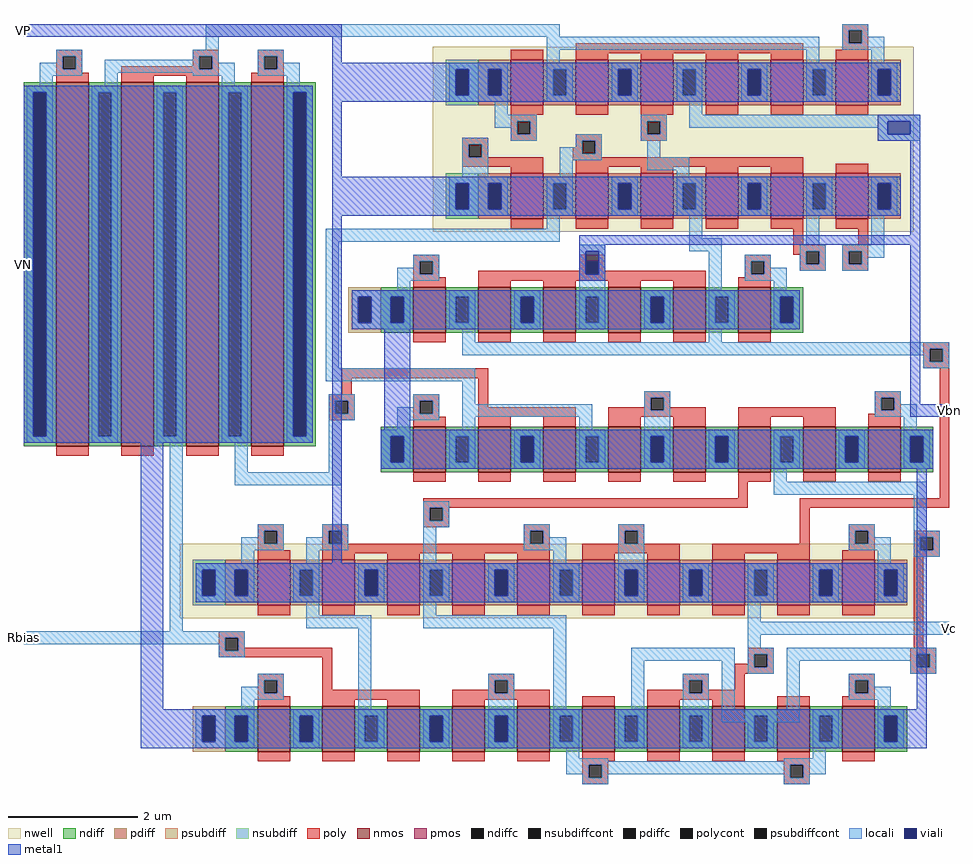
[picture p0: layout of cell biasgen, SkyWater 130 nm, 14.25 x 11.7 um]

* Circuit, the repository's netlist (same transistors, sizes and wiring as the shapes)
* SPICE3 file created from biasgen.ext - technology: sky130A


* Top level circuit biasgen

X0 a_50_260# a_50_n170# VP VP sky130_fd_pr__pfet_01v8 ad=3.5e+11p pd=2.4e+06u as=5.25e+12p ps=3.6e+07u w=700000u l=500000u
X1 VN VN a_50_260# VN sky130_fd_pr__nfet_01v8 ad=1.085e+13p pd=6.04e+07u as=7e+11p ps=4.8e+06u w=700000u l=500000u
X2 a_n30_n580# VN VN VN sky130_fd_pr__nfet_01v8 ad=7e+11p pd=4.8e+06u as=0p ps=0u w=700000u l=500000u
X3 a_n430_n580# a_n430_n580# VP VP sky130_fd_pr__pfet_01v8 ad=7e+11p pd=4.8e+06u as=0p ps=0u w=700000u l=500000u
X4 a_50_n170# VN VN VN sky130_fd_pr__nfet_01v8 ad=7e+11p pd=4.8e+06u as=0p ps=0u w=700000u l=500000u
X5 VN a_n30_n580# a_570_n1030# VN sky130_fd_pr__nfet_01v8 ad=0p pd=0u as=1.05e+12p ps=7.2e+06u w=700000u l=500000u
X6 VP a_n430_n580# a_n430_n580# VP sky130_fd_pr__pfet_01v8 ad=0p pd=0u as=0p ps=0u w=700000u l=500000u
X7 a_n1050_n90# VN VN VN sky130_fd_pr__nfet_01v8 ad=5.6e+12p pd=2.44e+07u as=0p ps=0u w=5.6e+06u l=500000u
X8 Rbias a_n1050_n90# a_n1050_n90# VN sky130_fd_pr__nfet_01v8 ad=2.8e+12p pd=1.22e+07u as=0p ps=0u w=5.6e+06u l=500000u
X9 a_50_n170# VP VP VP sky130_fd_pr__pfet_01v8 ad=7e+11p pd=4.8e+06u as=0p ps=0u w=700000u l=500000u
X10 a_50_260# VN VN VN sky130_fd_pr__nfet_01v8 ad=0p pd=0u as=0p ps=0u w=700000u l=500000u
X11 a_570_n1030# a_n30_n580# a_n30_n580# VN sky130_fd_pr__nfet_01v8 ad=0p pd=0u as=0p ps=0u w=700000u l=500000u
X12 a_n1050_n90# a_50_260# VP VP sky130_fd_pr__pfet_01v8 ad=7e+11p pd=4.8e+06u as=0p ps=0u w=700000u l=500000u
X13 VN Vbn Vbn VN sky130_fd_pr__nfet_01v8 ad=0p pd=0u as=3.5e+11p ps=2.4e+06u w=700000u l=500000u
X14 VN VN a_50_n170# VN sky130_fd_pr__nfet_01v8 ad=0p pd=0u as=0p ps=0u w=700000u l=500000u
X15 VP a_50_260# Vbn VP sky130_fd_pr__pfet_01v8 ad=0p pd=0u as=3.5e+11p ps=2.4e+06u w=700000u l=500000u
X16 Vc Vc a_570_n1030# VN sky130_fd_pr__nfet_01v8 ad=3.5e+11p pd=2.4e+06u as=0p ps=0u w=700000u l=500000u
X17 Vc a_50_260# VP VP sky130_fd_pr__pfet_01v8 ad=3.5e+11p pd=2.4e+06u as=0p ps=0u w=700000u l=500000u
X18 VN Rbias a_n430_n580# VN sky130_fd_pr__nfet_01v8 ad=0p pd=0u as=3.5e+11p ps=2.4e+06u w=700000u l=500000u
X19 VN VN a_n1050_n90# VN sky130_fd_pr__nfet_01v8 ad=0p pd=0u as=0p ps=0u w=5.6e+06u l=500000u
X20 a_570_n1030# Vc Vc VN sky130_fd_pr__nfet_01v8 ad=0p pd=0u as=0p ps=0u w=700000u l=500000u
X21 VN Vbn a_50_260# VN sky130_fd_pr__nfet_01v8 ad=0p pd=0u as=0p ps=0u w=700000u l=500000u
X22 a_n30_n580# a_n430_n580# VP VP sky130_fd_pr__pfet_01v8 ad=3.5e+11p pd=2.4e+06u as=0p ps=0u w=700000u l=500000u
X23 a_n430_n580# Rbias VN VN sky130_fd_pr__nfet_01v8 ad=0p pd=0u as=0p ps=0u w=700000u l=500000u
X24 VP a_50_260# a_n1050_n90# VP sky130_fd_pr__pfet_01v8 ad=0p pd=0u as=0p ps=0u w=700000u l=500000u
X25 a_50_n170# a_50_n170# VP VP sky130_fd_pr__pfet_01v8 ad=0p pd=0u as=0p ps=0u w=700000u l=500000u
X26 VP a_50_n170# a_50_260# VP sky130_fd_pr__pfet_01v8 ad=0p pd=0u as=0p ps=0u w=700000u l=500000u
X27 VP VP VP VP sky130_fd_pr__pfet_01v8 ad=0p pd=0u as=0p ps=0u w=700000u l=500000u
X28 a_50_n170# a_n1050_n90# VN VN sky130_fd_pr__nfet_01v8 ad=0p pd=0u as=0p ps=0u w=700000u l=500000u
X29 VN VN VN VN sky130_fd_pr__nfet_01v8 ad=0p pd=0u as=0p ps=0u w=700000u l=500000u
X30 VP a_n430_n580# a_n30_n580# VP sky130_fd_pr__pfet_01v8 ad=0p pd=0u as=0p ps=0u w=700000u l=500000u
X31 VP VP VP VP sky130_fd_pr__pfet_01v8 ad=0p pd=0u as=0p ps=0u w=700000u l=500000u
X32 VP a_50_n170# a_50_n170# VP sky130_fd_pr__pfet_01v8 ad=0p pd=0u as=0p ps=0u w=700000u l=500000u
X33 VP VP a_n1050_n90# VP sky130_fd_pr__pfet_01v8 ad=0p pd=0u as=0p ps=0u w=700000u l=500000u
X34 a_50_260# Vbn VN VN sky130_fd_pr__nfet_01v8 ad=0p pd=0u as=0p ps=0u w=700000u l=500000u
X35 VN VN VN VN sky130_fd_pr__nfet_01v8 ad=0p pd=0u as=0p ps=0u w=700000u l=500000u
X36 a_570_n1030# a_n30_n580# VN VN sky130_fd_pr__nfet_01v8 ad=0p pd=0u as=0p ps=0u w=700000u l=500000u
X37 VP a_50_260# Vc VP sky130_fd_pr__pfet_01v8 ad=0p pd=0u as=0p ps=0u w=700000u l=500000u
X38 VN a_n1050_n90# a_50_n170# VN sky130_fd_pr__nfet_01v8 ad=0p pd=0u as=0p ps=0u w=700000u l=500000u
X39 a_n1050_n90# a_n1050_n90# Rbias VN sky130_fd_pr__nfet_01v8 ad=0p pd=0u as=0p ps=0u w=5.6e+06u l=500000u
X40 Vbn Vbn VN VN sky130_fd_pr__nfet_01v8 ad=0p pd=0u as=0p ps=0u w=700000u l=500000u
X41 a_n30_n580# a_n30_n580# a_570_n1030# VN sky130_fd_pr__nfet_01v8 ad=0p pd=0u as=0p ps=0u w=700000u l=500000u
X42 Vbn a_50_260# VP VP sky130_fd_pr__pfet_01v8 ad=0p pd=0u as=0p ps=0u w=700000u l=500000u
X43 VP VP a_50_n170# VP sky130_fd_pr__pfet_01v8 ad=0p pd=0u as=0p ps=0u w=700000u l=500000u
X44 VP VP a_n430_n580# VP sky130_fd_pr__pfet_01v8 ad=0p pd=0u as=0p ps=0u w=700000u l=500000u
X45 VN VN VN VN sky130_fd_pr__nfet_01v8 ad=0p pd=0u as=0p ps=0u w=700000u l=500000u
X46 a_n430_n580# VP VP VP sky130_fd_pr__pfet_01v8 ad=0p pd=0u as=0p ps=0u w=700000u l=500000u
X47 VN VN a_n30_n580# VN sky130_fd_pr__nfet_01v8 ad=0p pd=0u as=0p ps=0u w=700000u l=500000u
X48 a_n1050_n90# VP VP VP sky130_fd_pr__pfet_01v8 ad=0p pd=0u as=0p ps=0u w=700000u l=500000u
X49 VN VN VN VN sky130_fd_pr__nfet_01v8 ad=0p pd=0u as=0p ps=0u w=700000u l=500000u
.end

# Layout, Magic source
magic
tech sky130A
<< nwell >>
rect 5 285 745 570
rect -385 -310 755 -195
<< nmos >>
rect -575 -45 -525 515
rect -475 -45 -425 515
rect -375 -45 -325 515
rect -275 -45 -225 515
rect -25 130 25 200
rect 75 130 125 200
rect 175 130 225 200
rect 275 130 325 200
rect 375 130 425 200
rect 475 130 525 200
rect -25 -85 25 -15
rect 75 -85 125 -15
rect 175 -85 225 -15
rect 275 -85 325 -15
rect 375 -85 425 -15
rect 475 -85 525 -15
rect 575 -85 625 -15
rect 675 -85 725 -15
rect -265 -515 -215 -445
rect -165 -515 -115 -445
rect -65 -515 -15 -445
rect 35 -515 85 -445
rect 135 -515 185 -445
rect 235 -515 285 -445
rect 335 -515 385 -445
rect 435 -515 485 -445
rect 535 -515 585 -445
rect 635 -515 685 -445
<< pmos >>
rect 125 480 175 550
rect 225 480 275 550
rect 325 480 375 550
rect 425 480 475 550
rect 525 480 575 550
rect 625 480 675 550
rect 125 305 175 375
rect 225 305 275 375
rect 325 305 375 375
rect 425 305 475 375
rect 525 305 575 375
rect 625 305 675 375
rect -265 -290 -215 -220
rect -165 -290 -115 -220
rect -65 -290 -15 -220
rect 35 -290 85 -220
rect 135 -290 185 -220
rect 235 -290 285 -220
rect 335 -290 385 -220
rect 435 -290 485 -220
rect 535 -290 585 -220
rect 635 -290 685 -220
<< ndiff >>
rect -625 500 -575 515
rect -625 -30 -610 500
rect -590 -30 -575 500
rect -625 -45 -575 -30
rect -525 500 -475 515
rect -525 -30 -510 500
rect -490 -30 -475 500
rect -525 -45 -475 -30
rect -425 500 -375 515
rect -425 -30 -410 500
rect -390 -30 -375 500
rect -425 -45 -375 -30
rect -325 500 -275 515
rect -325 -30 -310 500
rect -290 -30 -275 500
rect -325 -45 -275 -30
rect -225 500 -175 515
rect -225 -30 -210 500
rect -190 -30 -175 500
rect -75 185 -25 200
rect -75 145 -60 185
rect -40 145 -25 185
rect -75 130 -25 145
rect 25 185 75 200
rect 25 145 40 185
rect 60 145 75 185
rect 25 130 75 145
rect 125 185 175 200
rect 125 145 140 185
rect 160 145 175 185
rect 125 130 175 145
rect 225 185 275 200
rect 225 145 240 185
rect 260 145 275 185
rect 225 130 275 145
rect 325 185 375 200
rect 325 145 340 185
rect 360 145 375 185
rect 325 130 375 145
rect 425 185 475 200
rect 425 145 440 185
rect 460 145 475 185
rect 425 130 475 145
rect 525 185 575 200
rect 525 145 540 185
rect 560 145 575 185
rect 525 130 575 145
rect -225 -45 -175 -30
rect -75 -30 -25 -15
rect -75 -70 -60 -30
rect -40 -70 -25 -30
rect -75 -85 -25 -70
rect 25 -30 75 -15
rect 25 -70 40 -30
rect 60 -70 75 -30
rect 25 -85 75 -70
rect 125 -30 175 -15
rect 125 -70 140 -30
rect 160 -70 175 -30
rect 125 -85 175 -70
rect 225 -30 275 -15
rect 225 -70 240 -30
rect 260 -70 275 -30
rect 225 -85 275 -70
rect 325 -30 375 -15
rect 325 -70 340 -30
rect 360 -70 375 -30
rect 325 -85 375 -70
rect 425 -30 475 -15
rect 425 -70 440 -30
rect 460 -70 475 -30
rect 425 -85 475 -70
rect 525 -30 575 -15
rect 525 -70 540 -30
rect 560 -70 575 -30
rect 525 -85 575 -70
rect 625 -30 675 -15
rect 625 -70 640 -30
rect 660 -70 675 -30
rect 625 -85 675 -70
rect 725 -30 775 -15
rect 725 -70 740 -30
rect 760 -70 775 -30
rect 725 -85 775 -70
rect -315 -460 -265 -445
rect -315 -500 -300 -460
rect -280 -500 -265 -460
rect -315 -515 -265 -500
rect -215 -460 -165 -445
rect -215 -500 -200 -460
rect -180 -500 -165 -460
rect -215 -515 -165 -500
rect -115 -460 -65 -445
rect -115 -500 -100 -460
rect -80 -500 -65 -460
rect -115 -515 -65 -500
rect -15 -460 35 -445
rect -15 -500 0 -460
rect 20 -500 35 -460
rect -15 -515 35 -500
rect 85 -460 135 -445
rect 85 -500 100 -460
rect 120 -500 135 -460
rect 85 -515 135 -500
rect 185 -460 235 -445
rect 185 -500 200 -460
rect 220 -500 235 -460
rect 185 -515 235 -500
rect 285 -460 335 -445
rect 285 -500 300 -460
rect 320 -500 335 -460
rect 285 -515 335 -500
rect 385 -460 435 -445
rect 385 -500 400 -460
rect 420 -500 435 -460
rect 385 -515 435 -500
rect 485 -460 535 -445
rect 485 -500 500 -460
rect 520 -500 535 -460
rect 485 -515 535 -500
rect 585 -460 635 -445
rect 585 -500 600 -460
rect 620 -500 635 -460
rect 585 -515 635 -500
rect 685 -460 735 -445
rect 685 -500 700 -460
rect 720 -500 735 -460
rect 685 -515 735 -500
<< pdiff >>
rect 75 535 125 550
rect 75 495 90 535
rect 110 495 125 535
rect 75 480 125 495
rect 175 535 225 550
rect 175 495 190 535
rect 210 495 225 535
rect 175 480 225 495
rect 275 535 325 550
rect 275 495 290 535
rect 310 495 325 535
rect 275 480 325 495
rect 375 535 425 550
rect 375 495 390 535
rect 410 495 425 535
rect 375 480 425 495
rect 475 535 525 550
rect 475 495 490 535
rect 510 495 525 535
rect 475 480 525 495
rect 575 535 625 550
rect 575 495 590 535
rect 610 495 625 535
rect 575 480 625 495
rect 675 535 725 550
rect 675 495 690 535
rect 710 495 725 535
rect 675 480 725 495
rect 75 360 125 375
rect 75 320 90 360
rect 110 320 125 360
rect 75 305 125 320
rect 175 360 225 375
rect 175 320 190 360
rect 210 320 225 360
rect 175 305 225 320
rect 275 360 325 375
rect 275 320 290 360
rect 310 320 325 360
rect 275 305 325 320
rect 375 360 425 375
rect 375 320 390 360
rect 410 320 425 360
rect 375 305 425 320
rect 475 360 525 375
rect 475 320 490 360
rect 510 320 525 360
rect 475 305 525 320
rect 575 360 625 375
rect 575 320 590 360
rect 610 320 625 360
rect 575 305 625 320
rect 675 360 725 375
rect 675 320 690 360
rect 710 320 725 360
rect 675 305 725 320
rect -315 -235 -265 -220
rect -315 -275 -300 -235
rect -280 -275 -265 -235
rect -315 -290 -265 -275
rect -215 -235 -165 -220
rect -215 -275 -200 -235
rect -180 -275 -165 -235
rect -215 -290 -165 -275
rect -115 -235 -65 -220
rect -115 -275 -100 -235
rect -80 -275 -65 -235
rect -115 -290 -65 -275
rect -15 -235 35 -220
rect -15 -275 0 -235
rect 20 -275 35 -235
rect -15 -290 35 -275
rect 85 -235 135 -220
rect 85 -275 100 -235
rect 120 -275 135 -235
rect 85 -290 135 -275
rect 185 -235 235 -220
rect 185 -275 200 -235
rect 220 -275 235 -235
rect 185 -290 235 -275
rect 285 -235 335 -220
rect 285 -275 300 -235
rect 320 -275 335 -235
rect 285 -290 335 -275
rect 385 -235 435 -220
rect 385 -275 400 -235
rect 420 -275 435 -235
rect 385 -290 435 -275
rect 485 -235 535 -220
rect 485 -275 500 -235
rect 520 -275 535 -235
rect 485 -290 535 -275
rect 585 -235 635 -220
rect 585 -275 600 -235
rect 620 -275 635 -235
rect 585 -290 635 -275
rect 685 -235 735 -220
rect 685 -275 700 -235
rect 720 -275 735 -235
rect 685 -290 735 -275
<< ndiffc >>
rect -610 -30 -590 500
rect -510 -30 -490 500
rect -410 -30 -390 500
rect -310 -30 -290 500
rect -210 -30 -190 500
rect -60 145 -40 185
rect 40 145 60 185
rect 140 145 160 185
rect 240 145 260 185
rect 340 145 360 185
rect 440 145 460 185
rect 540 145 560 185
rect -60 -70 -40 -30
rect 40 -70 60 -30
rect 140 -70 160 -30
rect 240 -70 260 -30
rect 340 -70 360 -30
rect 440 -70 460 -30
rect 540 -70 560 -30
rect 640 -70 660 -30
rect 740 -70 760 -30
rect -300 -500 -280 -460
rect -200 -500 -180 -460
rect -100 -500 -80 -460
rect 0 -500 20 -460
rect 100 -500 120 -460
rect 200 -500 220 -460
rect 300 -500 320 -460
rect 400 -500 420 -460
rect 500 -500 520 -460
rect 600 -500 620 -460
rect 700 -500 720 -460
<< pdiffc >>
rect 90 495 110 535
rect 190 495 210 535
rect 290 495 310 535
rect 390 495 410 535
rect 490 495 510 535
rect 590 495 610 535
rect 690 495 710 535
rect 90 320 110 360
rect 190 320 210 360
rect 290 320 310 360
rect 390 320 410 360
rect 490 320 510 360
rect 590 320 610 360
rect 690 320 710 360
rect -300 -275 -280 -235
rect -200 -275 -180 -235
rect -100 -275 -80 -235
rect 0 -275 20 -235
rect 100 -275 120 -235
rect 200 -275 220 -235
rect 300 -275 320 -235
rect 400 -275 420 -235
rect 500 -275 520 -235
rect 600 -275 620 -235
rect 700 -275 720 -235
<< psubdiff >>
rect -125 185 -75 200
rect -125 145 -110 185
rect -90 145 -75 185
rect -125 130 -75 145
rect -365 -460 -315 -445
rect -365 -500 -350 -460
rect -330 -500 -315 -460
rect -365 -515 -315 -500
<< nsubdiff >>
rect 25 535 75 550
rect 25 495 40 535
rect 60 495 75 535
rect 25 480 75 495
rect 25 360 75 375
rect 25 320 40 360
rect 60 320 75 360
rect 25 305 75 320
rect -365 -235 -315 -220
rect -365 -275 -350 -235
rect -330 -275 -315 -235
rect -365 -290 -315 -275
<< psubdiffcont >>
rect -110 145 -90 185
rect -350 -500 -330 -460
<< nsubdiffcont >>
rect 40 495 60 535
rect 40 320 60 360
rect -350 -275 -330 -235
<< poly >>
rect 635 595 675 605
rect 635 575 645 595
rect 665 575 675 595
rect -575 555 -535 565
rect -575 535 -565 555
rect -545 535 -535 555
rect -365 555 -325 565
rect -365 540 -355 555
rect -575 530 -535 535
rect -475 535 -355 540
rect -335 535 -325 555
rect -575 515 -525 530
rect -475 525 -325 535
rect -265 555 -225 565
rect -265 535 -255 555
rect -235 535 -225 555
rect 125 550 175 565
rect 225 560 575 575
rect 635 565 675 575
rect 225 550 275 560
rect 325 550 375 560
rect 425 550 475 560
rect 525 550 575 560
rect 625 550 675 565
rect -265 530 -225 535
rect -475 515 -425 525
rect -375 515 -325 525
rect -275 515 -225 530
rect 125 465 175 480
rect 225 465 275 480
rect 325 465 375 480
rect 425 465 475 480
rect 525 465 575 480
rect 625 465 675 480
rect 125 455 165 465
rect 125 435 135 455
rect 155 435 165 455
rect 325 455 365 465
rect 325 435 335 455
rect 355 435 365 455
rect 50 420 90 430
rect 125 425 165 435
rect 225 425 265 435
rect 325 425 365 435
rect 50 400 60 420
rect 80 400 90 420
rect 225 415 235 425
rect 220 405 235 415
rect 255 405 265 425
rect 220 400 265 405
rect 50 385 175 400
rect 220 395 575 400
rect 125 375 175 385
rect 225 385 575 395
rect 225 375 275 385
rect 325 375 375 385
rect 425 375 475 385
rect 525 375 575 385
rect 625 375 675 390
rect 125 290 175 305
rect 225 290 275 305
rect 325 290 375 305
rect 425 290 475 305
rect 525 290 575 305
rect 625 290 675 305
rect 560 265 575 290
rect 660 265 675 290
rect 560 255 610 265
rect 560 250 580 255
rect -25 240 15 250
rect -25 220 -15 240
rect 5 220 15 240
rect 230 240 270 250
rect 230 225 240 240
rect -25 215 15 220
rect 75 220 240 225
rect 260 225 270 240
rect 485 240 525 250
rect 260 220 425 225
rect -25 200 25 215
rect 75 210 425 220
rect 485 220 495 240
rect 515 220 525 240
rect 570 235 580 250
rect 600 235 610 255
rect 570 225 610 235
rect 635 255 675 265
rect 635 235 645 255
rect 665 235 675 255
rect 635 225 675 235
rect 485 215 525 220
rect 75 200 125 210
rect 175 200 225 210
rect 275 200 325 210
rect 375 200 425 210
rect 475 200 525 215
rect -25 115 25 130
rect 75 115 125 130
rect 175 115 225 130
rect 275 115 325 130
rect 375 115 425 130
rect 475 115 525 130
rect 760 105 800 115
rect 760 85 770 105
rect 790 85 800 105
rect 760 75 800 85
rect -135 60 90 75
rect -135 35 -120 60
rect -155 25 -115 35
rect -155 5 -145 25
rect -125 5 -115 25
rect -155 -5 -115 5
rect -25 25 15 35
rect -25 5 -15 25
rect 5 5 15 25
rect -25 0 15 5
rect 75 15 90 60
rect 330 30 370 40
rect 330 15 340 30
rect 75 0 225 15
rect -25 -15 25 0
rect 75 -15 125 0
rect 175 -15 225 0
rect 275 10 340 15
rect 360 15 370 30
rect 685 30 725 40
rect 360 10 425 15
rect 275 0 425 10
rect 275 -15 325 0
rect 375 -15 425 0
rect 475 0 625 15
rect 685 10 695 30
rect 715 10 725 30
rect 685 5 725 10
rect 475 -15 525 0
rect 575 -15 625 0
rect 675 -15 725 5
rect -575 -60 -525 -45
rect -475 -60 -425 -45
rect -375 -60 -325 -45
rect -275 -60 -225 -45
rect -25 -100 25 -85
rect 75 -100 125 -85
rect 175 -100 225 -85
rect 275 -100 325 -85
rect 375 -100 425 -85
rect 475 -100 525 -85
rect 575 -100 625 -85
rect 675 -100 725 -85
rect 475 -125 490 -100
rect 785 -125 800 75
rect -10 -140 490 -125
rect 570 -140 800 -125
rect -10 -160 0 -140
rect 20 -160 30 -140
rect -265 -175 -225 -165
rect -265 -195 -255 -175
rect -235 -195 -225 -175
rect -265 -205 -225 -195
rect -165 -175 -125 -165
rect -10 -170 30 -160
rect -165 -195 -155 -175
rect -135 -195 -125 -175
rect 145 -175 185 -165
rect 145 -195 155 -175
rect 175 -195 185 -175
rect 290 -175 330 -165
rect 290 -195 300 -175
rect 320 -195 330 -175
rect 570 -195 585 -140
rect -265 -220 -215 -205
rect -165 -210 185 -195
rect -165 -220 -115 -210
rect -65 -220 -15 -210
rect 35 -220 85 -210
rect 135 -220 185 -210
rect 235 -210 385 -195
rect 235 -220 285 -210
rect 335 -220 385 -210
rect 435 -210 585 -195
rect 645 -175 685 -165
rect 645 -195 655 -175
rect 675 -195 685 -175
rect 645 -205 685 -195
rect 435 -220 485 -210
rect 535 -220 585 -210
rect 635 -220 685 -205
rect 745 -185 785 -175
rect 745 -205 755 -185
rect 775 -205 785 -185
rect 745 -215 785 -205
rect -265 -305 -215 -290
rect -165 -305 -115 -290
rect -65 -305 -15 -290
rect 35 -305 85 -290
rect 135 -305 185 -290
rect 235 -305 285 -290
rect 335 -305 385 -290
rect 435 -305 485 -290
rect 535 -305 585 -290
rect 635 -305 685 -290
rect -325 -340 -285 -330
rect -325 -360 -315 -340
rect -295 -355 -285 -340
rect 745 -355 760 -215
rect -295 -360 -150 -355
rect -325 -370 -150 -360
rect -265 -405 -225 -395
rect -265 -425 -255 -405
rect -235 -425 -225 -405
rect -265 -430 -225 -425
rect -165 -420 -150 -370
rect 490 -365 530 -355
rect 490 -380 500 -365
rect 470 -385 500 -380
rect 520 -385 530 -365
rect 470 -395 530 -385
rect 740 -365 780 -355
rect 740 -385 750 -365
rect 770 -385 780 -365
rect 740 -395 780 -385
rect 90 -405 130 -395
rect 90 -420 100 -405
rect -265 -445 -215 -430
rect -165 -435 -15 -420
rect -165 -445 -115 -435
rect -65 -445 -15 -435
rect 35 -425 100 -420
rect 120 -420 130 -405
rect 390 -405 430 -395
rect 390 -420 400 -405
rect 120 -425 185 -420
rect 35 -435 185 -425
rect 335 -425 400 -420
rect 420 -420 430 -405
rect 470 -420 485 -395
rect 420 -425 485 -420
rect 35 -445 85 -435
rect 135 -445 185 -435
rect 235 -445 285 -430
rect 335 -435 485 -425
rect 645 -405 685 -395
rect 645 -425 655 -405
rect 675 -425 685 -405
rect 645 -430 685 -425
rect 335 -445 385 -435
rect 435 -445 485 -435
rect 535 -445 585 -430
rect 635 -445 685 -430
rect -265 -530 -215 -515
rect -165 -530 -115 -515
rect -65 -530 -15 -515
rect 35 -530 85 -515
rect 135 -530 185 -515
rect 235 -530 285 -515
rect 335 -530 385 -515
rect 435 -530 485 -515
rect 535 -530 585 -515
rect 635 -530 685 -515
rect 235 -535 275 -530
rect 235 -555 245 -535
rect 265 -555 275 -535
rect 235 -565 275 -555
rect 545 -535 585 -530
rect 545 -555 555 -535
rect 575 -555 585 -535
rect 545 -565 585 -555
<< polycont >>
rect 645 575 665 595
rect -565 535 -545 555
rect -355 535 -335 555
rect -255 535 -235 555
rect 135 435 155 455
rect 335 435 355 455
rect 60 400 80 420
rect 235 405 255 425
rect -15 220 5 240
rect 240 220 260 240
rect 495 220 515 240
rect 580 235 600 255
rect 645 235 665 255
rect 770 85 790 105
rect -145 5 -125 25
rect -15 5 5 25
rect 340 10 360 30
rect 695 10 715 30
rect 0 -160 20 -140
rect -255 -195 -235 -175
rect -155 -195 -135 -175
rect 155 -195 175 -175
rect 300 -195 320 -175
rect 655 -195 675 -175
rect 755 -205 775 -185
rect -315 -360 -295 -340
rect -255 -425 -235 -405
rect 500 -385 520 -365
rect 750 -385 770 -365
rect 100 -425 120 -405
rect 400 -425 420 -405
rect 655 -425 675 -405
rect 245 -555 265 -535
rect 555 -555 575 -535
<< locali >>
rect -345 585 200 605
rect 635 595 675 605
rect -345 565 -325 585
rect 180 565 600 585
rect 635 575 645 595
rect 665 585 675 595
rect 665 575 700 585
rect 635 565 700 575
rect -575 555 -535 565
rect -575 545 -565 555
rect -600 535 -565 545
rect -545 535 -535 555
rect -365 555 -325 565
rect -365 550 -355 555
rect -600 525 -535 535
rect -500 535 -355 550
rect -335 545 -325 555
rect -265 555 -225 565
rect -335 535 -300 545
rect -500 530 -300 535
rect -600 510 -580 525
rect -500 510 -480 530
rect -365 525 -300 530
rect -265 535 -255 555
rect -235 545 -225 555
rect 180 545 200 565
rect 580 545 600 565
rect 680 545 700 565
rect -235 535 -200 545
rect -265 525 -200 535
rect -320 510 -300 525
rect -220 510 -200 525
rect 30 535 120 545
rect -620 500 -580 510
rect -620 -30 -610 500
rect -590 -30 -580 500
rect -620 -40 -580 -30
rect -520 500 -480 510
rect -520 -30 -510 500
rect -490 -30 -480 500
rect -520 -40 -480 -30
rect -420 500 -380 510
rect -420 -30 -410 500
rect -390 -30 -380 500
rect -420 -40 -380 -30
rect -320 500 -280 510
rect -320 -30 -310 500
rect -290 -30 -280 500
rect -320 -40 -280 -30
rect -220 500 -180 510
rect -220 -30 -210 500
rect -190 -30 -180 500
rect 30 495 40 535
rect 60 495 90 535
rect 110 495 120 535
rect 30 485 120 495
rect 180 535 220 545
rect 180 495 190 535
rect 210 495 220 535
rect 180 485 220 495
rect 280 535 320 545
rect 280 495 290 535
rect 310 495 320 535
rect 280 485 320 495
rect 380 535 420 545
rect 380 495 390 535
rect 410 495 420 535
rect 380 485 420 495
rect 480 535 520 545
rect 480 495 490 535
rect 510 495 520 535
rect 480 485 520 495
rect 580 535 620 545
rect 580 495 590 535
rect 610 495 620 535
rect 580 485 620 495
rect 680 535 720 545
rect 680 495 690 535
rect 710 495 720 535
rect 680 485 720 495
rect 100 465 120 485
rect 400 465 420 485
rect 100 455 165 465
rect 100 445 135 455
rect 125 435 135 445
rect 155 435 165 455
rect 325 455 365 465
rect 325 435 335 455
rect 355 435 365 455
rect 400 455 755 465
rect 400 445 705 455
rect 50 420 90 430
rect 125 425 165 435
rect 225 425 265 435
rect 325 425 365 435
rect 690 435 705 445
rect 740 435 755 455
rect 690 425 755 435
rect 50 400 60 420
rect 80 400 90 420
rect 225 415 235 425
rect 50 370 90 400
rect 200 405 235 415
rect 255 405 265 425
rect 200 395 265 405
rect 335 400 355 425
rect 200 370 220 395
rect 335 380 400 400
rect 380 370 400 380
rect 30 360 120 370
rect 30 320 40 360
rect 60 320 90 360
rect 110 320 120 360
rect 30 310 120 320
rect 180 360 220 370
rect 180 320 190 360
rect 210 320 220 360
rect 180 310 220 320
rect 280 360 320 370
rect 280 320 290 360
rect 310 320 320 360
rect 280 310 320 320
rect 380 360 420 370
rect 380 320 390 360
rect 410 320 420 360
rect 380 310 420 320
rect 480 360 520 370
rect 480 320 490 360
rect 510 320 520 360
rect 480 310 520 320
rect 580 360 620 370
rect 580 320 590 360
rect 610 320 620 360
rect 580 310 620 320
rect 680 360 720 370
rect 680 320 690 360
rect 710 320 720 360
rect 680 310 720 320
rect 180 290 200 310
rect -160 270 200 290
rect 400 275 420 310
rect -160 75 -140 270
rect 230 255 270 265
rect 400 255 450 275
rect 580 265 600 310
rect 680 265 700 310
rect -25 240 15 250
rect -25 230 -15 240
rect -50 220 -15 230
rect 5 220 15 240
rect -50 210 15 220
rect 230 220 240 255
rect 260 220 270 255
rect -50 195 -30 210
rect -120 185 -30 195
rect -120 145 -110 185
rect -90 145 -60 185
rect -40 145 -30 185
rect -120 135 -30 145
rect 30 185 70 195
rect 30 145 40 185
rect 60 145 70 185
rect 30 135 70 145
rect 130 185 170 195
rect 130 145 140 185
rect 160 145 170 185
rect 130 135 170 145
rect 230 185 270 220
rect 430 195 450 255
rect 570 255 610 265
rect 485 240 525 250
rect 485 220 495 240
rect 515 230 525 240
rect 570 235 580 255
rect 600 235 610 255
rect 515 220 550 230
rect 570 225 610 235
rect 635 255 700 265
rect 635 235 645 255
rect 665 245 700 255
rect 665 235 675 245
rect 635 225 675 235
rect 485 210 550 220
rect 530 195 550 210
rect 230 145 240 185
rect 260 145 270 185
rect 230 135 270 145
rect 330 185 370 195
rect 330 145 340 185
rect 360 145 370 185
rect 330 135 370 145
rect 430 185 470 195
rect 430 145 440 185
rect 460 145 470 185
rect 430 135 470 145
rect 530 185 570 195
rect 530 145 540 185
rect 560 145 570 185
rect 530 135 570 145
rect 50 115 70 135
rect 430 115 450 135
rect 50 105 800 115
rect 50 95 770 105
rect 760 85 770 95
rect 790 85 800 105
rect 760 75 800 85
rect -160 55 70 75
rect -220 -40 -180 -30
rect -155 25 -115 35
rect -155 5 -145 25
rect -125 5 -115 25
rect -25 25 15 35
rect -25 15 -15 25
rect -155 -5 -115 5
rect -50 5 -15 15
rect 5 5 15 25
rect -50 -5 15 5
rect 50 20 70 55
rect 330 30 370 40
rect 50 0 250 20
rect -400 -330 -380 -40
rect -300 -85 -280 -40
rect -155 -85 -135 -5
rect -50 -20 -30 -5
rect 50 -20 70 0
rect 230 -20 250 0
rect 330 10 340 30
rect 360 10 370 30
rect -75 -30 -30 -20
rect -75 -70 -60 -30
rect -40 -70 -30 -30
rect -75 -80 -30 -70
rect 30 -30 70 -20
rect 30 -70 40 -30
rect 60 -70 70 -30
rect 30 -80 70 -70
rect 130 -30 170 -20
rect 130 -70 140 -30
rect 160 -70 170 -30
rect 130 -80 170 -70
rect 230 -30 270 -20
rect 230 -70 240 -30
rect 260 -70 270 -30
rect 230 -80 270 -70
rect 330 -30 370 10
rect 685 30 725 40
rect 685 10 695 30
rect 715 20 725 30
rect 715 10 750 20
rect 685 0 750 10
rect 730 -20 750 0
rect 330 -70 340 -30
rect 360 -70 370 -30
rect 330 -80 370 -70
rect 430 -30 470 -20
rect 430 -70 440 -30
rect 460 -70 470 -30
rect 430 -80 470 -70
rect 530 -30 570 -20
rect 530 -70 540 -30
rect 560 -70 570 -30
rect 530 -80 570 -70
rect 630 -30 670 -20
rect 630 -70 640 -30
rect 660 -70 670 -30
rect 630 -80 670 -70
rect 730 -30 770 -20
rect 730 -70 740 -30
rect 760 -70 770 -30
rect 730 -80 770 -70
rect -300 -105 -135 -85
rect 530 -100 550 -80
rect 530 -120 765 -100
rect -10 -140 30 -130
rect -10 -160 0 -140
rect 20 -160 30 -140
rect -265 -175 -225 -165
rect -265 -185 -255 -175
rect -290 -195 -255 -185
rect -235 -195 -225 -175
rect -165 -175 -125 -165
rect -165 -185 -155 -175
rect -290 -205 -225 -195
rect -190 -195 -155 -185
rect -135 -195 -125 -175
rect -190 -205 -125 -195
rect -10 -170 30 -160
rect -290 -225 -270 -205
rect -190 -225 -170 -205
rect -10 -225 10 -170
rect 145 -175 185 -165
rect 145 -195 155 -175
rect 175 -185 185 -175
rect 290 -175 330 -165
rect 175 -195 210 -185
rect 145 -205 210 -195
rect 190 -225 210 -205
rect 290 -195 300 -175
rect 320 -195 330 -175
rect -360 -235 -270 -225
rect -360 -275 -350 -235
rect -330 -275 -300 -235
rect -280 -275 -270 -235
rect -360 -285 -270 -275
rect -210 -235 -170 -225
rect -210 -275 -200 -235
rect -180 -275 -170 -235
rect -210 -285 -170 -275
rect -110 -235 -70 -225
rect -110 -275 -100 -235
rect -80 -275 -70 -235
rect -110 -285 -70 -275
rect -10 -235 30 -225
rect -10 -275 0 -235
rect 20 -275 30 -235
rect -10 -285 30 -275
rect 90 -235 130 -225
rect 90 -275 100 -235
rect 120 -275 130 -235
rect 90 -285 130 -275
rect 190 -235 230 -225
rect 190 -275 200 -235
rect 220 -275 230 -235
rect 190 -285 230 -275
rect 290 -235 330 -195
rect 645 -175 685 -165
rect 645 -195 655 -175
rect 675 -185 685 -175
rect 745 -175 765 -120
rect 745 -185 785 -175
rect 675 -195 710 -185
rect 645 -205 710 -195
rect 690 -225 710 -205
rect 745 -205 755 -185
rect 775 -205 785 -185
rect 745 -215 785 -205
rect 290 -275 300 -235
rect 320 -275 330 -235
rect 290 -285 330 -275
rect 390 -235 430 -225
rect 390 -275 400 -235
rect 420 -275 430 -235
rect 390 -285 430 -275
rect 490 -235 530 -225
rect 490 -275 500 -235
rect 520 -275 530 -235
rect 490 -285 530 -275
rect 590 -235 630 -225
rect 590 -275 600 -235
rect 620 -275 630 -235
rect 590 -285 630 -275
rect 690 -235 730 -225
rect 690 -275 700 -235
rect 720 -275 730 -235
rect 690 -285 730 -275
rect -190 -305 -170 -285
rect -10 -305 10 -285
rect -190 -325 -90 -305
rect -10 -325 210 -305
rect -625 -340 -285 -330
rect -625 -350 -315 -340
rect -325 -360 -315 -350
rect -295 -360 -285 -340
rect -325 -370 -285 -360
rect -265 -405 -225 -395
rect -265 -415 -255 -405
rect -290 -425 -255 -415
rect -235 -425 -225 -405
rect -290 -435 -225 -425
rect -290 -450 -270 -435
rect -110 -450 -90 -325
rect 90 -405 130 -395
rect 90 -425 100 -405
rect 120 -425 130 -405
rect -360 -460 -270 -450
rect -360 -500 -350 -460
rect -330 -500 -300 -460
rect -280 -500 -270 -460
rect -360 -510 -270 -500
rect -210 -460 -170 -450
rect -210 -500 -200 -460
rect -180 -500 -170 -460
rect -210 -510 -170 -500
rect -110 -460 -70 -450
rect -110 -500 -100 -460
rect -80 -500 -70 -460
rect -110 -510 -70 -500
rect -10 -460 30 -450
rect -10 -500 0 -460
rect 20 -500 30 -460
rect -10 -510 30 -500
rect 90 -460 130 -425
rect 90 -500 100 -460
rect 120 -500 130 -460
rect 90 -510 130 -500
rect 190 -450 210 -325
rect 490 -315 510 -285
rect 490 -335 800 -315
rect 490 -355 510 -335
rect 310 -375 470 -355
rect 310 -450 330 -375
rect 190 -460 230 -450
rect 190 -500 200 -460
rect 220 -500 230 -460
rect 190 -510 230 -500
rect 290 -460 330 -450
rect 290 -500 300 -460
rect 320 -500 330 -460
rect 290 -510 330 -500
rect 390 -405 430 -395
rect 390 -425 400 -405
rect 420 -425 430 -405
rect 390 -460 430 -425
rect 390 -500 400 -460
rect 420 -500 430 -460
rect 450 -450 470 -375
rect 490 -365 530 -355
rect 490 -385 500 -365
rect 520 -385 530 -365
rect 490 -395 530 -385
rect 550 -365 780 -355
rect 550 -375 750 -365
rect 550 -450 570 -375
rect 740 -385 750 -375
rect 770 -385 780 -365
rect 740 -395 780 -385
rect 645 -405 685 -395
rect 645 -425 655 -405
rect 675 -415 685 -405
rect 675 -425 710 -415
rect 645 -435 710 -425
rect 690 -450 710 -435
rect 450 -460 570 -450
rect 450 -470 500 -460
rect 390 -510 430 -500
rect 490 -500 500 -470
rect 520 -470 570 -460
rect 590 -460 630 -450
rect 520 -500 530 -470
rect 490 -510 530 -500
rect 590 -500 600 -460
rect 620 -500 630 -460
rect 590 -510 630 -500
rect 690 -460 730 -450
rect 690 -500 700 -460
rect 720 -500 730 -460
rect 690 -510 730 -500
rect 210 -525 230 -510
rect 590 -525 610 -510
rect 210 -530 275 -525
rect 545 -530 610 -525
rect 210 -535 610 -530
rect 210 -550 245 -535
rect 235 -555 245 -550
rect 265 -550 555 -535
rect 265 -555 275 -550
rect 235 -565 275 -555
rect 545 -555 555 -550
rect 575 -550 610 -535
rect 575 -555 585 -550
rect 545 -565 585 -555
<< viali >>
rect -610 -30 -590 500
rect -210 -30 -190 500
rect 40 495 60 535
rect 90 495 110 535
rect 290 495 310 535
rect 490 495 510 535
rect 690 495 710 535
rect 705 435 740 455
rect 40 320 60 360
rect 90 320 110 360
rect 290 320 310 360
rect 490 320 510 360
rect 690 320 710 360
rect 240 240 260 255
rect 240 220 260 240
rect -110 145 -90 185
rect -60 145 -40 185
rect 140 145 160 185
rect 340 145 360 185
rect 540 145 560 185
rect -60 -70 -40 -30
rect 140 -70 160 -30
rect 340 -70 360 -30
rect 440 -70 460 -30
rect 640 -70 660 -30
rect 740 -70 760 -30
rect -350 -275 -330 -235
rect -300 -275 -280 -235
rect -100 -275 -80 -235
rect 100 -275 120 -235
rect 300 -275 320 -235
rect 400 -275 420 -235
rect 600 -275 620 -235
rect 700 -275 720 -235
rect -350 -500 -330 -460
rect -300 -500 -280 -460
rect -200 -500 -180 -460
rect 0 -500 20 -460
rect 100 -500 120 -460
rect 700 -500 720 -460
<< metal1 >>
rect -625 585 -135 605
rect -150 545 -135 585
rect -150 535 725 545
rect -625 500 -180 510
rect -625 -30 -610 500
rect -590 -30 -210 500
rect -190 -30 -180 500
rect -625 -40 -180 -30
rect -150 495 40 535
rect 60 495 90 535
rect 110 495 290 535
rect 310 495 490 535
rect 510 495 690 535
rect 710 495 725 535
rect -150 485 725 495
rect -150 370 -135 485
rect 690 455 755 465
rect 690 435 705 455
rect 740 435 755 455
rect 690 425 755 435
rect -150 360 725 370
rect -150 320 40 360
rect 60 320 90 360
rect 110 320 290 360
rect 310 320 490 360
rect 510 320 690 360
rect 710 320 725 360
rect -150 310 725 320
rect -445 -450 -410 -40
rect -150 -225 -135 310
rect 740 280 755 425
rect 230 265 755 280
rect 230 255 270 265
rect 230 220 240 255
rect 260 220 270 255
rect 230 210 270 220
rect -120 185 570 195
rect -120 145 -110 185
rect -90 145 -60 185
rect -40 145 140 185
rect 160 145 340 185
rect 360 145 540 185
rect 560 145 570 185
rect -120 135 570 145
rect -70 -20 -30 135
rect 740 20 755 265
rect 740 0 800 20
rect -75 -30 775 -20
rect -75 -70 -60 -30
rect -40 -70 140 -30
rect 160 -70 340 -30
rect 360 -70 440 -30
rect 460 -70 640 -30
rect 660 -70 740 -30
rect 760 -70 775 -30
rect -75 -80 775 -70
rect -360 -235 735 -225
rect -360 -275 -350 -235
rect -330 -275 -300 -235
rect -280 -275 -100 -235
rect -80 -275 100 -235
rect 120 -275 300 -235
rect 320 -275 400 -235
rect 420 -275 600 -235
rect 620 -275 700 -235
rect 720 -275 735 -235
rect -360 -285 735 -275
rect 750 -450 765 -80
rect -445 -460 765 -450
rect -445 -500 -350 -460
rect -330 -500 -300 -460
rect -280 -500 -200 -460
rect -180 -500 0 -460
rect 20 -500 100 -460
rect 120 -500 700 -460
rect 720 -500 765 -460
rect -445 -510 765 -500
<< labels >>
rlabel metal1 -625 595 -625 595 7 VP
port 1 w
rlabel metal1 -625 235 -625 235 7 VN
port 2 w
rlabel locali -625 -340 -625 -340 7 Rbias
port 3 w
rlabel metal1 800 10 800 10 3 Vbn
port 4 e
rlabel locali 800 -325 800 -325 3 Vc
port 5 e
<< end >>
